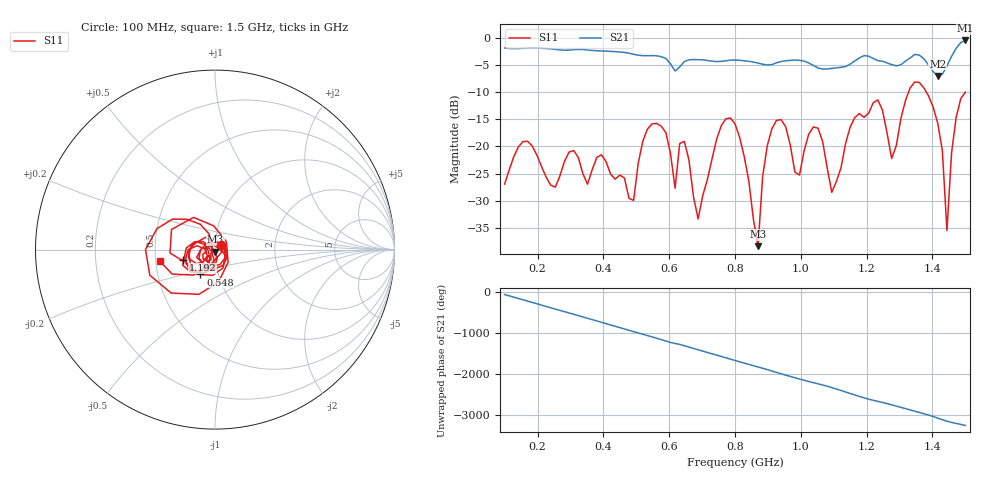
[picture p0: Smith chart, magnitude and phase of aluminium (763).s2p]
! NanoVNA-App
! Date: 2025-09-25 15:01:13
! Start: 100MHz Stop: 1,5GHz Points: 101
! S-Parameter data: F S11 S21 S12 S22
# Hz S RI R 50
!  Frequency  S11_Real  S11_Imag  S21_Real  S21_Imag  S12_Real  S12_Imag  S22_Real  S22_Imag
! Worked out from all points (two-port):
!   101 points, 100 MHz to 1.5 GHz, reference 50 ohm
!   highest |S21| = -0.53 dB at 1.5 GHz (marker M1); lowest = -7.0 dB at 1.416 GHz (marker M2)
!   |S21| within 3 dB of the highest: start of sweep to 576.7 MHz; 1.457 GHz to end of sweep (the widest 2 of 4)
!   lowest |S11| = -38.4 dB at 870 MHz (marker M3), VSWR 1.02, Z = 50.1 - j1.2 ohm
!   |S11| at or under -10 dB: start of sweep to 1.328 GHz; 1.381 GHz to end of sweep
!   S12 and S22 are empty: the file has one direction only
!   S11 on the Smith chart (normalised r, x): 100 MHz: 1.07, +0.06; 548 MHz: 0.82, -0.23; 1.192 GHz: 0.70, -0.08; 1.5 GHz: 0.52, -0.07
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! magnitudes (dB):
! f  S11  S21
! 100 MHz  -27.0  -1.9
! 156 MHz  -19.1  -2.0
! 338 MHz  -25.1  -2.2
! 492 MHz  -30.0  -3.1
! 548 MHz  -15.9  -3.3
! 576 MHz  -16.3  -3.5
! 618 MHz  -27.7  -6.1
! 646 MHz  -19.1  -4.4
! 688 MHz  -33.4  -4.1
! 800 MHz  -15.9  -4.1
! 870 MHz  -38.4  -4.7
! 912 MHz  -16.8  -5.0
! 996 MHz  -25.3  -4.2
! 1.038 GHz  -16.4  -5.1
! 1.094 GHz  -28.5  -5.7
! 1.192 GHz  -14.7  -3.3
! 1.276 GHz  -22.2  -5.0
! 1.346 GHz  -8.2  -3.1
! 1.416 GHz  -15.7  -7.0
! 1.444 GHz  -35.5  -5.2
! 1.472 GHz  -14.6  -2.0
! 1.5 GHz  -10.0  -0.5
